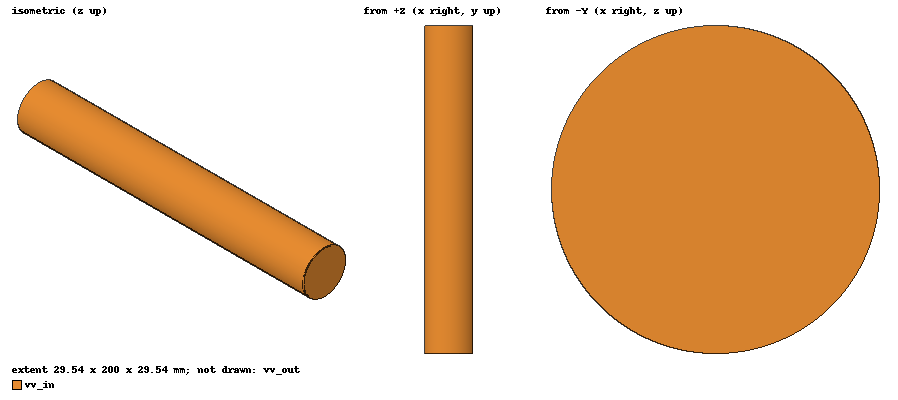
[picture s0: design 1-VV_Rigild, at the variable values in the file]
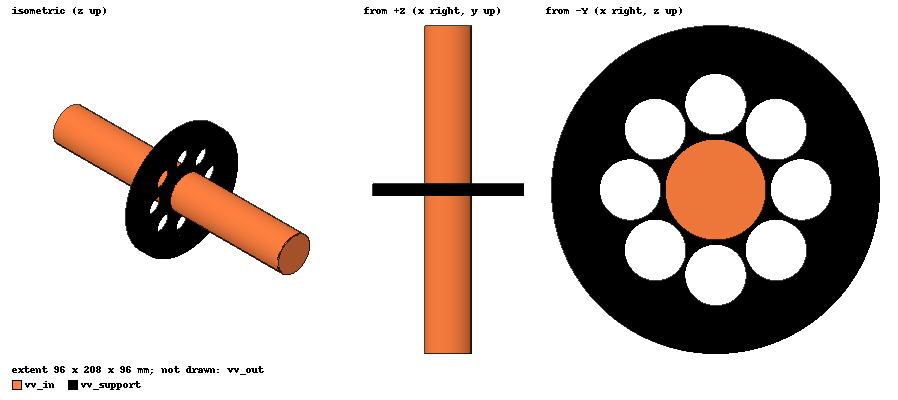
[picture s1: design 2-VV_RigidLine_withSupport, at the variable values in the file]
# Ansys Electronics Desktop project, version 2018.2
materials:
  vacuum: permittivity=1
  copper: permeability=0.999991 conductivity=58000000
  Teflon (tm): permittivity=2.1 dielectric_loss_tangent=0.001

design 1-VV_Rigild (HFSS, DrivenModal, model units mm)
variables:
  vv_in_r = (29.54/2) mm
  H = 200mm
  out_r = (76.8/2) mm
  vvout_r = (96/2) mm
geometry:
  vv_in [copper] = cylinder(axis=Y, base_centre=(0mm, -H/2, 0mm), radius=vv_in_r, height=H)
  vv_out [vacuum] = cylinder(axis=Y, base_centre=(0, -H/2, 0mm), radius=vvout_r, height=H)
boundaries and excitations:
  1: Wave Port Faces=vv_out.face(3 of 3) NumModes=1 Modes{Mode1{CharImp=Zpi}}
  2: Wave Port Faces=vv_out.face(2 of 3) NumModes=1 Modes{Mode1{CharImp=Zpi}}
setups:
  Setup1: HfssDriven Frequency=1GHz MaxDeltaS=0.02 MaximumPasses=20 MinimumPasses=1 MinimumConvergedPasses=1 PercentRefinement=30 BasisOrder=1 PortAccuracy=2
    sweep Sweep: 10MHz to 1.1GHz step 0.001GHz; Type=Interpolating InterpTolerance=0.5 InterpMaxSolns=250 InterpUsePortImped=false PassivityErrorTolerance=0.0001
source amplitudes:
  1:1: 1W 0deg
  2:1: 0W 0deg
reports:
  S Parameter Plot 1: dB(S(1,1)) vs Freq on Setup1 : Sweep; markers m1 at 0.012GHz, m2 at 0.909GHz

design 2-VV_RigidLine_withSupport (HFSS, DrivenModal, model units mm)
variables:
  vv_in_r = (29.54/2) mm
  H = 200mm
  vvout_r = (96/2) mm
  H_support = 8mm
  vv_support_r = 8.635mm
  vv_drill_d = 25mm
  vv_drill_r = 9mm
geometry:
  vv_in [copper] = cylinder(axis=Y, base_centre=(0mm, -H_support/2, 0mm), radius=vv_support_r, height=H_support)
  Cylinder2 = cylinder(axis=Y, base_centre=(0mm, 4mm, 0mm), radius=vv_in_r, height=H/2)
  Cylinder2_1 = Cylinder2.duplicate_mirror(point=(0mm, 0mm, 0mm), normal=(0mm, -1mm, 0mm))
  vv_in.unite(Cylinder2, Cylinder2_1)
  vv_out [vacuum] = cylinder(axis=Y, base_centre=(0mm, -104mm, 0mm), radius=vvout_r, height=H+H_support)
  vv_support [Teflon (tm)] = cylinder(axis=Y, base_centre=(0mm, -H_support/2, 0mm), radius=vvout_r, height=H_support)
  vv_in1 = cylinder(axis=Y, base_centre=(0mm, -H_support/2, 0mm), radius=vv_support_r, height=H_support)
  Cylinder4 = cylinder(axis=Y, base_centre=(0mm, 4mm, 0mm), radius=vv_in_r, height=H/2)
  Cylinder2_2 = Cylinder4.duplicate_mirror(point=(0mm, 0mm, 0mm), normal=(0mm, -1mm, 0mm))
  vv_in1.unite(Cylinder4, Cylinder2_2)
  vv_support.subtract(vv_in1)
  Cylinder5 = cylinder(axis=Y, base_centre=(vv_drill_d, -H_support/2, 0mm), radius=vv_drill_r, height=H_support)
  Cylinder5_1..Cylinder5_7 = Cylinder5.duplicate_around_axis(axis=Y, angle=45deg, total=8)
  vv_support.subtract(Cylinder5, Cylinder5_1..Cylinder5_7)
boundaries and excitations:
  PerfE1: Perfect E Faces=vv_out.face(1 of 3)
  1: Wave Port Faces=vv_out.face(3 of 3) NumModes=1 Modes{Mode1{CharImp=Zpi}}
  2: Wave Port Faces=vv_out.face(2 of 3) NumModes=1 Modes{Mode1{CharImp=Zpi}}
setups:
  Setup1: HfssDriven Frequency=1GHz MaxDeltaS=0.02 MaximumPasses=20 MinimumPasses=1 MinimumConvergedPasses=1 PercentRefinement=30 BasisOrder=1 PortAccuracy=2
    sweep Sweep: 0.01GHz to 1.1GHz step 0.002GHz; Type=Interpolating InterpTolerance=0.5 InterpMaxSolns=250 InterpUsePortImped=false PassivityErrorTolerance=0.0001
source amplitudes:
  1:1: 1W 0deg
  2:1: 0W 0deg
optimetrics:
  ParametricSetup1: Parametric Sim._Setups=[Setup1]
    sweep vv_drill_r: LIN 7mm 9mm 0.5mm
    sweep vv_drill_d: LIN 25mm 45mm 3mm
    sweep vv_support_r: LIN 8mm 9mm 0.1mm
  ParametricSetup2: Parametric Sim._Setups=[Setup1]
    sweep vv_support_r: LIN 8mm 9mm 0.1mm
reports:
  S Parameter Plot 1: dB(S(1,1)) vs Freq on Setup1 : Sweep
  S Parameter Plot 2: dB(S(1,1)) vs Freq on Setup1 : Sweep [vv_drill_d=25mm,28mm,30mm,31mm,34mm,37mm,40mm,43mm,45mm vv_drill_r=9mm]
  S Parameter Plot 3: dB(S(1,1)) vs Freq on Setup1 : Sweep [vv_support_r=all vv_drill_d=25mm vv_drill_r=9mm]

design 3-VV_elbow (HFSS, DrivenModal, model units mm)
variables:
  H = 200mm
  vv_in_r = (29.54/2) mm
  vv_out_r = (96/2) mm
  vv_x_move = 20mm
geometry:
  coordinate_system RelativeCS3 = origin=(-4.1633983mm, -4.1633983mm, 0mm) x=(1mm, 0mm, 0mm) y=(0mm, 1mm, 0mm)
  vv_out [vacuum] = cylinder(axis=X, base_centre=(0mm, 0mm, 0mm), radius=vv_out_r, height=H) in RelativeCS3
  coordinate_system RelativeCS4 = origin=(0mm, 0mm, 0mm) x=(1mm, 0mm, 0mm) y=(0mm, 1mm, 0mm)
  coordinate_system RelativeCS5 = origin=(-4.1633983mm, -52.163398mm, 0mm) x=(1mm, 0mm, 0mm) y=(0mm, 1mm, 0mm) in RelativeCS4
  vv_out.rotate(axis=Z, angle=45deg) in RelativeCS5
  vv_out.split(plane=YZ, keep=PositiveOnly) in RelativeCS5
  vv_out.rotate(axis=Z, angle=-45deg) in RelativeCS5
  vv_out.move(-43.836602mm, 4.1633983mm, 0mm)
  Cylinder1_1 = vv_out.duplicate_around_axis(axis=Z, angle=90deg, total=2)
  Cylinder1_1.rotate(axis=Y, angle=180deg)
  vv_out.unite(Cylinder1_1)
  coordinate_system RelativeCS6 = origin=(-4.1633983mm, -4.1633983mm, 0mm) x=(1mm, 0mm, 0mm) y=(0mm, 1mm, 0mm)
  vv_in [copper] = cylinder(axis=X, base_centre=(0mm, 0mm, 0mm), radius=vv_in_r, height=H) in RelativeCS6
  coordinate_system RelativeCS7 = origin=(0mm, 0mm, 0mm) x=(1mm, 0mm, 0mm) y=(0mm, 1mm, 0mm)
  coordinate_system RelativeCS8 = origin=(-4.1633983mm, -52.163398mm, 0mm) x=(1mm, 0mm, 0mm) y=(0mm, 1mm, 0mm) in RelativeCS7
  vv_in.rotate(axis=Z, angle=45deg) in RelativeCS8
  vv_in.split(plane=YZ, keep=PositiveOnly) in RelativeCS8
  vv_in.rotate(axis=Z, angle=-45deg) in RelativeCS8
  vv_in.move(-43.836602mm, 4.1633983mm, 0mm)
  Cylinder1_2 = vv_in.duplicate_around_axis(axis=Z, angle=90deg, total=2)
  Cylinder1_2.rotate(axis=Y, angle=180deg)
  vv_in.unite(Cylinder1_2)
  coordinate_system RelativeCS9 = origin=(-14.77mm, -14.77mm, 0mm) x=(1mm, 0mm, 0mm) y=(0mm, 1mm, 0mm)
  Rectangle1 = rectangle(corner=(vv_x_move, -50mm, -50mm), y_size=100mm, z_size=100mm) in RelativeCS9
  Rectangle1.rotate(axis=Z, angle=45deg) in RelativeCS9
  vv_in.split(plane=Rectangle1_1.face, keep=NegativeOnly) in RelativeCS9
  Rectangle1_1 = Rectangle1.copy()
  Rectangle1_1.delete()
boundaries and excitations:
  PerfE2: Perfect E Faces=vv_out.face(1 of 3, 2 of 3)
  1: Wave Port Faces=vv_out.face(3 of 3) NumModes=1 Modes{Mode1{CharImp=Zpi}}
  2: Wave Port Faces=vv_out.face(3 of 3) NumModes=1 Modes{Mode1{CharImp=Zpi}}
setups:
  Setup1: HfssDriven Frequency=0.8GHz MaxDeltaS=0.02 MaximumPasses=20 MinimumPasses=1 MinimumConvergedPasses=1 PercentRefinement=30 BasisOrder=1 PortAccuracy=2
    sweep Sweep: 0.01GHz to 0.9GHz step 0.002GHz; Type=Fast SaveFields
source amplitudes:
  1:1: 1W 0deg
  2:1: 0W 0deg
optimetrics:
  ParametricSetup1: Parametric Sim._Setups=[Setup1]
    sweep vv_x_move: LIN 26mm 28mm 0.2mm
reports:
  S Parameter Plot 1: dB(S(1,1)) vs Freq on Setup1 : Sweep [vv_x_move=all]; markers MX1 at x=30000000, MX2 at x=8.2e+08, MY1 at y=-35

design 4-VV_elbow_withSupport (HFSS, DrivenModal, model units mm)
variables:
  vv_in_r = (29.54/2) mm
  H_support = 8mm
  H = 200mm
  vv_support_r = 8.635mm
  vvout_r = (96/2) mm
  vv_drill_r = 9mm
  vv_drill_d = 25mm
  move_d = 27mm
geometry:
  vv_in [copper] = cylinder(axis=Y, base_centre=(0mm, -H_support/2, 0mm), radius=vv_support_r, height=H_support)
  Cylinder2 = cylinder(axis=Y, base_centre=(0mm, 4mm, 0mm), radius=vv_in_r, height=H/2)
  Cylinder2_1 = Cylinder2.duplicate_mirror(point=(0mm, 0mm, 0mm), normal=(0mm, -1mm, 0mm))
  vv_in.unite(Cylinder2, Cylinder2_1)
  vv_out [vacuum] = cylinder(axis=Y, base_centre=(0mm, -104mm, 0mm), radius=vvout_r, height=H+H_support)
  vv_support = cylinder(axis=Y, base_centre=(0mm, -H_support/2, 0mm), radius=vvout_r, height=H_support)
  vv_in1 = cylinder(axis=Y, base_centre=(0mm, -H_support/2, 0mm), radius=vv_support_r, height=H_support)
  Cylinder4 = cylinder(axis=Y, base_centre=(0mm, 4mm, 0mm), radius=vv_in_r, height=H/2)
  Cylinder2_2 = Cylinder4.duplicate_mirror(point=(0mm, 0mm, 0mm), normal=(0mm, -1mm, 0mm))
  vv_in1.unite(Cylinder4, Cylinder2_2)
  vv_support.subtract(vv_in1)
  Cylinder5 = cylinder(axis=Y, base_centre=(vv_drill_d, -H_support/2, 0mm), radius=vv_drill_r, height=H_support)
  Cylinder5_1..Cylinder5_7 = Cylinder5.duplicate_around_axis(axis=Y, angle=45deg, total=8)
  vv_support.subtract(Cylinder5, Cylinder5_1..Cylinder5_7)
  [vv_support, vv_in, vv_out].rotate(axis=Z, angle=90deg)
  [vv_out, vv_support, vv_in].move(104mm, 0mm, 0mm)
  coordinate_system RelativeCS1 = origin=(0mm, -48mm, 0mm) x=(1mm, 0mm, 0mm) y=(0mm, 1mm, 0mm)
  [vv_out, vv_in, vv_support].rotate(axis=Z, angle=45deg) in RelativeCS1
  [vv_out, vv_in, vv_support].split(plane=YZ, keep=PositiveOnly) in RelativeCS1
  [vv_in, vv_support, vv_out].rotate(axis=Z, angle=-45deg) in RelativeCS1
  vv_in_1 = vv_in.duplicate_around_axis(axis=Z, angle=90deg, total=2)
  vv_out_1 = vv_out.duplicate_around_axis(axis=Z, angle=90deg, total=2)
  vv_support_1 [Teflon (tm)] = vv_support.duplicate_around_axis(axis=Z, angle=90deg, total=2)
  [vv_in_1, vv_out_1, vv_support_1].rotate(axis=Y, angle=180deg)
  [vv_in, vv_out, vv_support].move(-48mm, 0mm, 0mm)
  vv_support.delete()
  [vv_support_1, vv_in_1, vv_out_1].move(0mm, -48mm, 0mm)
  vv_in.unite(vv_in_1)
  vv_out.unite(vv_out_1)
  coordinate_system RelativeCS2 = origin=(-14.77mm, 33.23mm, 0mm) x=(1mm, 0mm, 0mm) y=(0mm, 1mm, 0mm) in RelativeCS1
  Rectangle1 = rectangle(corner=(0mm, -35mm, 35mm), y_size=85mm, z_size=-85mm) in RelativeCS2
  Rectangle1.rotate(axis=Z, angle=45deg) in RelativeCS2
  Rectangle1.move(move_d, 0mm, 0mm) in RelativeCS2
  vv_in.split(plane=Rectangle1_1.face, keep=PositiveOnly) in RelativeCS2
  Rectangle1_1 = Rectangle1.copy()
  [Rectangle1, Rectangle1_1].delete()
  Rectangle2 = rectangle(corner=(0mm, -70mm, 50mm), y_size=180mm, z_size=-140mm) in RelativeCS2
  Rectangle2.rotate(axis=Z, angle=45deg) in RelativeCS2
  Rectangle2.rotate(axis=Z, angle=90deg) in RelativeCS2
  vv_out.split(plane=Rectangle2_1.face, keep=PositiveOnly) in RelativeCS2
  Rectangle2_1 = Rectangle2.copy()
  Rectangle2_1.delete()
  vv_in.split(plane=Rectangle2_2.face, keep=PositiveOnly) in RelativeCS2
  Rectangle2_2 = Rectangle2.copy()
  [Rectangle2, Rectangle2_2].delete()
  Rectangle3 = rectangle(corner=(0mm, -80mm, -100mm), y_size=220mm, z_size=190mm) in RelativeCS2
  Rectangle3.rotate(axis=Z, angle=-45deg) in RelativeCS2
  Rectangle3.move(0mm, 4mm, 0mm) in RelativeCS2
  vv_in.split(plane=Rectangle3_1.face, keep=PositiveOnly) in RelativeCS2
  Rectangle3_1 = Rectangle3.copy()
  Rectangle3_1.delete()
  vv_out.split(plane=Rectangle3_2.face, keep=PositiveOnly) in RelativeCS2
  Rectangle3_2 = Rectangle3.copy()
  [Rectangle3, Rectangle3_2].delete()
  [vv_in, vv_support_1, vv_out].move(0mm, -4mm, 0mm) in RelativeCS2
  vv_in_2 = vv_in.duplicate_around_axis(axis=Z, angle=180deg, total=2) in RelativeCS2
  vv_out_2 = vv_out.duplicate_around_axis(axis=Z, angle=180deg, total=2) in RelativeCS2
  vv_support_1_1 [Teflon (tm)] = vv_support_1.duplicate_around_axis(axis=Z, angle=180deg, total=2) in RelativeCS2
  [vv_in_2, vv_support_1_1, vv_out_2].rotate(axis=Z, angle=90deg) in RelativeCS2
  [vv_in_2, vv_support_1_1, vv_out_2].rotate(axis=X, angle=180deg) in RelativeCS2
  vv_in.unite(vv_in_2)
  vv_out.unite(vv_out_2)
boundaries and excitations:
  PerfE2: Perfect E Faces=vv_out.face(2 of 3)
  PerfE3: Perfect E Faces=vv_out.face(2 of 3)
  1: Wave Port Faces=vv_out.face(3 of 3) NumModes=1 Modes{Mode1{CharImp=Zpi}}
  2: Wave Port Faces=vv_out.face(3 of 3) NumModes=1 Modes{Mode1{CharImp=Zpi}}
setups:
  Setup1: HfssDriven Frequency=0.8GHz MaxDeltaS=0.02 MaximumPasses=20 MinimumPasses=1 MinimumConvergedPasses=1 PercentRefinement=30 BasisOrder=1 PortAccuracy=2
    sweep Sweep: 0.01GHz to 1.1GHz, 451 points; Type=Fast
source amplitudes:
  1:1: 1W 0deg
  2:1: 0W 0deg
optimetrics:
  ParametricSetup1: Parametric Sim._Setups=[Setup1]
    sweep move_d: LIN 26.5mm 27.5mm 0.1mm
  ParametricSetup2: Parametric Sim._Setups=[Setup1]
    sweep vv_support_r: LIN 4mm 7mm 0.5mm
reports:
  S Parameter Plot 1: dB(S(1,1)) vs Freq on Setup1 : Sweep [vv_support_r=8.635mm move_d=all]; markers MY1 at y=-35

design 4-elbow-bak (HFSS, DrivenModal, model units mm)
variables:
  H_support = 8mm
  vv_support_r = 8.635mm
  move_d = 27mm
  vv_in_r = (29.54/2) mm
  H = 200mm
  vvout_r = (96/2) mm
  vv_drill_d = 25mm
  vv_drill_r = 9mm
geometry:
  vv_in [copper] = cylinder(axis=Y, base_centre=(0mm, -H_support/2, 0mm), radius=vv_support_r, height=H_support)
  Cylinder2 = cylinder(axis=Y, base_centre=(0mm, 4mm, 0mm), radius=vv_in_r, height=H/2)
  Cylinder2_1 = Cylinder2.duplicate_mirror(point=(0mm, 0mm, 0mm), normal=(0mm, -1mm, 0mm))
  vv_in.unite(Cylinder2, Cylinder2_1)
  vv_in.rotate(axis=Z, angle=90deg)
  vv_in.move(104mm, 0mm, 0mm)
  coordinate_system RelativeCS1 = origin=(0mm, -48mm, 0mm) x=(1mm, 0mm, 0mm) y=(0mm, 1mm, 0mm)
  vv_in.rotate(axis=Z, angle=45deg) in RelativeCS1
  vv_in.split(plane=YZ, keep=PositiveOnly) in RelativeCS1
  vv_in.rotate(axis=Z, angle=-45deg) in RelativeCS1
  vv_in_1 = vv_in.duplicate_around_axis(axis=Z, angle=90deg, total=2)
  vv_in.move(-48mm, 0mm, 0mm)
  vv_in_1.rotate(axis=Y, angle=180deg)
  vv_in_1.move(0mm, -48mm, 0mm)
  vv_in.unite(vv_in_1)
  coordinate_system RelativeCS2 = origin=(-14.77mm, 33.23mm, 0mm) x=(1mm, 0mm, 0mm) y=(0mm, 1mm, 0mm) in RelativeCS1
  vv_in.split(plane=Rectangle1_1.face, keep=PositiveOnly) in RelativeCS2
  vv_in.split(plane=Rectangle2_2.face, keep=PositiveOnly) in RelativeCS2
  vv_in.split(plane=Rectangle3_1.face, keep=PositiveOnly) in RelativeCS2
  vv_in.move(0mm, -4mm, 0mm) in RelativeCS2
  vv_in_2 = vv_in.duplicate_around_axis(axis=Z, angle=180deg, total=2) in RelativeCS2
  vv_in_2.rotate(axis=Z, angle=90deg) in RelativeCS2
  vv_in_2.rotate(axis=X, angle=180deg) in RelativeCS2
  vv_in.unite(vv_in_2)
  vv_support = cylinder(axis=Y, base_centre=(0mm, -H_support/2, 0mm), radius=vvout_r, height=H_support)
  vv_in1 = cylinder(axis=Y, base_centre=(0mm, -H_support/2, 0mm), radius=vv_support_r, height=H_support)
  Cylinder4 = cylinder(axis=Y, base_centre=(0mm, 4mm, 0mm), radius=vv_in_r, height=H/2)
  Cylinder2_2 = Cylinder4.duplicate_mirror(point=(0mm, 0mm, 0mm), normal=(0mm, -1mm, 0mm))
  vv_in1.unite(Cylinder4, Cylinder2_2)
  vv_support.subtract(vv_in1)
  Cylinder5 = cylinder(axis=Y, base_centre=(vv_drill_d, -H_support/2, 0mm), radius=vv_drill_r, height=H_support)
  Cylinder5_1..Cylinder5_7 = Cylinder5.duplicate_around_axis(axis=Y, angle=45deg, total=8)
  vv_support.subtract(Cylinder5, Cylinder5_1..Cylinder5_7)
  vv_support.rotate(axis=Z, angle=90deg)
  vv_support.move(104mm, 0mm, 0mm)
  vv_support.rotate(axis=Z, angle=45deg) in RelativeCS1
  vv_support.split(plane=YZ, keep=PositiveOnly) in RelativeCS1
  vv_support.rotate(axis=Z, angle=-45deg) in RelativeCS1
  vv_support_1 [Teflon (tm)] = vv_support.duplicate_around_axis(axis=Z, angle=90deg, total=2)
  vv_support.delete()
  vv_support_1.rotate(axis=Y, angle=180deg)
  vv_support_1.move(0mm, -48mm, 0mm)
  vv_support_1.move(0mm, -4mm, 0mm) in RelativeCS2
  vv_support_1_1 [Teflon (tm)] = vv_support_1.duplicate_around_axis(axis=Z, angle=180deg, total=2) in RelativeCS2
  vv_support_1_1.rotate(axis=Z, angle=90deg) in RelativeCS2
  vv_support_1_1.rotate(axis=X, angle=180deg) in RelativeCS2
  Rectangle1 = rectangle(corner=(0mm, -35mm, 35mm), y_size=85mm, z_size=-85mm) in RelativeCS2
  Rectangle1.rotate(axis=Z, angle=45deg) in RelativeCS2
  Rectangle1.move(move_d, 0mm, 0mm) in RelativeCS2
  Rectangle1_1 = Rectangle1.copy()
  [Rectangle1, Rectangle1_1].delete()
  Rectangle2 = rectangle(corner=(0mm, -70mm, 50mm), y_size=180mm, z_size=-140mm) in RelativeCS2
  Rectangle2.rotate(axis=Z, angle=45deg) in RelativeCS2
  Rectangle2.rotate(axis=Z, angle=90deg) in RelativeCS2
  Rectangle2_2 = Rectangle2.copy()
  [Rectangle2, Rectangle2_2].delete()
  Rectangle3 = rectangle(corner=(0mm, -80mm, -100mm), y_size=220mm, z_size=190mm) in RelativeCS2
  Rectangle3.rotate(axis=Z, angle=-45deg) in RelativeCS2
  Rectangle3.move(0mm, 4mm, 0mm) in RelativeCS2
  Rectangle3_1 = Rectangle3.copy()
  [Rectangle3, Rectangle3_1].delete()
  coordinate_system RelativeCS3 = origin=(48mm, 48mm, 0mm) x=(1mm, 0mm, 0mm) y=(0mm, 1mm, 0mm)
  coordinate_system RelativeCS4 = origin=(0mm, -48mm, 0mm) x=(1mm, 0mm, 0mm) y=(0mm, 1mm, 0mm) in RelativeCS3
  coordinate_system RelativeCS5 = origin=(-14.77mm, 33.23mm, 0mm) x=(1mm, 0mm, 0mm) y=(0mm, 1mm, 0mm) in RelativeCS4
  vv_out1 [vacuum] = cylinder(axis=Y, base_centre=(0mm, -104mm, 0mm), radius=vvout_r, height=H+H_support)
  vv_out1.rotate(axis=Z, angle=90deg)
  vv_out1.move(104mm, 0mm, 0mm)
  coordinate_system RelativeCS6 = origin=(0mm, -48mm, 0mm) x=(1mm, 0mm, 0mm) y=(0mm, 1mm, 0mm)
  vv_out1.rotate(axis=Z, angle=45deg) in RelativeCS6
  vv_out1.split(plane=YZ, keep=PositiveOnly) in RelativeCS6
  vv_out1.rotate(axis=Z, angle=-45deg) in RelativeCS6
  vv_out_5 = vv_out1.duplicate_around_axis(axis=Z, angle=90deg, total=2)
  vv_out1.move(-48mm, 0mm, 0mm)
  vv_out_5.rotate(axis=Y, angle=180deg)
  vv_out_5.move(0mm, -48mm, 0mm)
  vv_out1.unite(vv_out_5)
  coordinate_system RelativeCS7 = origin=(-14.77mm, 33.23mm, 0mm) x=(1mm, 0mm, 0mm) y=(0mm, 1mm, 0mm) in RelativeCS6
  vv_out1.split(plane=Rectangle2_3.face, keep=PositiveOnly) in RelativeCS7
  vv_out1.split(plane=Rectangle3_3.face, keep=PositiveOnly) in RelativeCS7
  vv_out1.move(0mm, -4mm, 0mm) in RelativeCS7
  vv_out_6 = vv_out1.duplicate_around_axis(axis=Z, angle=180deg, total=2) in RelativeCS7
  vv_out_6.rotate(axis=Z, angle=90deg) in RelativeCS7
  vv_out_6.rotate(axis=X, angle=180deg) in RelativeCS7
  vv_out1.unite(vv_out_6)
  Rectangle4 = rectangle(corner=(0mm, -70mm, 50mm), y_size=180mm, z_size=-140mm) in RelativeCS7
  Rectangle4.rotate(axis=Z, angle=45deg) in RelativeCS7
  Rectangle4.rotate(axis=Z, angle=90deg) in RelativeCS7
  Rectangle2_3 = Rectangle4.copy()
  [Rectangle4, Rectangle2_3].delete()
  Rectangle5 = rectangle(corner=(0mm, -80mm, -100mm), y_size=220mm, z_size=190mm) in RelativeCS7
  Rectangle5.rotate(axis=Z, angle=-45deg) in RelativeCS7
  Rectangle5.move(0mm, 4mm, 0mm) in RelativeCS7
  Rectangle3_3 = Rectangle5.copy()
  [Rectangle5, Rectangle3_3].delete()
  vv_out1.split(plane=vv_support_1_1_2.edge(20 of 20), keep=PositiveOnly)
  vv_support_1_1_2 = vv_support_1_1.copy()
  vv_support_1_1_2.delete()
  vv_out1_1 = vv_out1.duplicate_around_axis(axis=Z, angle=90deg, total=2)
  Circle1 = circle(normal=X, centre=(48mm, 0mm, 0mm), radius=48mm)
  Circle1.sweep_around_axis(axis=Z, angle=-90deg) in RelativeCS3
  vv_out1.unite(vv_out1_1, Circle1)
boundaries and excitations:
  PerfE1: Perfect E Faces=vv_out1.face(2 of 3, #1740, 2 of 3)
  1: Wave Port Faces=vv_out1.face(3 of 3) NumModes=1 Modes{Mode1{CharImp=Zpi}}
  2: Wave Port Faces=vv_out1.face(3 of 3) NumModes=1 Modes{Mode1{CharImp=Zpi}}
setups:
  Setup1: HfssDriven Frequency=1GHz MaxDeltaS=0.02 MaximumPasses=20 MinimumPasses=1 MinimumConvergedPasses=1 PercentRefinement=30 BasisOrder=1 PortAccuracy=2
    sweep Sweep: 0.01GHz to 1.1GHz, 500 points; Type=Fast
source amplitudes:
  1:1: 1W 0deg
  2:1: 0W 0deg
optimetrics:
  ParametricSetup1: Parametric Sim._Setups=[Setup1]
    sweep move_d: LIN 25mm 28mm 0.5mm
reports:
  S Parameter Plot 1: dB(S(1,1)) vs Freq on Setup1 : Sweep [move_d=all]; markers m1 at 0.15198397GHz, MY1 at y=-35

design 5-VV_ULink (HFSS, DrivenModal, model units mm)
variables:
  vv_out_r = (96/2) mm
  H = 200mm
  vv_x_move = 20mm
  vv_in_r = (29.54/2) mm
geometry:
  coordinate_system RelativeCS3 = origin=(-4.1633983mm, -4.1633983mm, 0mm) x=(1mm, 0mm, 0mm) y=(0mm, 1mm, 0mm)
  vv_out [vacuum] = cylinder(axis=X, base_centre=(0mm, 0mm, 0mm), radius=vv_out_r, height=H) in RelativeCS3
  coordinate_system RelativeCS4 = origin=(0mm, 0mm, 0mm) x=(1mm, 0mm, 0mm) y=(0mm, 1mm, 0mm)
  coordinate_system RelativeCS5 = origin=(-4.1633983mm, -52.163398mm, 0mm) x=(1mm, 0mm, 0mm) y=(0mm, 1mm, 0mm) in RelativeCS4
  vv_out.rotate(axis=Z, angle=45deg) in RelativeCS5
  vv_out.split(plane=YZ, keep=PositiveOnly) in RelativeCS5
  vv_out.rotate(axis=Z, angle=-45deg) in RelativeCS5
  vv_out.move(-43.836602mm, 4.1633983mm, 0mm)
  Cylinder1_1 = vv_out.duplicate_around_axis(axis=Z, angle=90deg, total=2)
  Cylinder1_1.rotate(axis=Y, angle=180deg)
  vv_out.unite(Cylinder1_1)
  coordinate_system RelativeCS6 = origin=(-4.1633983mm, -4.1633983mm, 0mm) x=(1mm, 0mm, 0mm) y=(0mm, 1mm, 0mm)
  vv_in [copper] = cylinder(axis=X, base_centre=(0mm, 0mm, 0mm), radius=vv_in_r, height=H) in RelativeCS6
  coordinate_system RelativeCS7 = origin=(0mm, 0mm, 0mm) x=(1mm, 0mm, 0mm) y=(0mm, 1mm, 0mm)
  coordinate_system RelativeCS8 = origin=(-4.1633983mm, -52.163398mm, 0mm) x=(1mm, 0mm, 0mm) y=(0mm, 1mm, 0mm) in RelativeCS7
  vv_in.rotate(axis=Z, angle=45deg) in RelativeCS8
  vv_in.split(plane=YZ, keep=PositiveOnly) in RelativeCS8
  vv_in.rotate(axis=Z, angle=-45deg) in RelativeCS8
  vv_in.move(-43.836602mm, 4.1633983mm, 0mm)
  Cylinder1_2 = vv_in.duplicate_around_axis(axis=Z, angle=90deg, total=2)
  Cylinder1_2.rotate(axis=Y, angle=180deg)
  vv_in.unite(Cylinder1_2)
  coordinate_system RelativeCS9 = origin=(-14.77mm, -14.77mm, 0mm) x=(1mm, 0mm, 0mm) y=(0mm, 1mm, 0mm)
  vv_in.split(plane=Rectangle1_1.face, keep=NegativeOnly) in RelativeCS9
  Rectangle1 = rectangle(corner=(vv_x_move, -50mm, -50mm), y_size=100mm, z_size=100mm) in RelativeCS9
  Rectangle1.rotate(axis=Z, angle=45deg) in RelativeCS9
  Rectangle1_1 = Rectangle1.copy()
  [Rectangle1, Rectangle1_1].delete()
  coordinate_system RelativeCS10 = origin=(0mm, 152mm, 0mm) x=(1mm, 0mm, 0mm) y=(0mm, 1mm, 0mm)
  vv_out_1 = vv_out.duplicate_mirror(point=(0mm, 0mm, 0mm), normal=(0mm, -1mm, 0mm)) in RelativeCS10
  vv_in_1 = vv_in.duplicate_mirror(point=(0mm, 0mm, 0mm), normal=(0mm, -1mm, 0mm)) in RelativeCS10
  vv_in.unite(vv_in_1)
  vv_out.unite(vv_out_1)
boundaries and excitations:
  PerfE1: Perfect E Faces=vv_out.face(1 of 3, 2 of 3, 3 of 4)
  1: Wave Port Faces=vv_out.face(3 of 3) NumModes=1 Modes{Mode1{CharImp=Zpi}}
  2: Wave Port Faces=vv_out.face(4 of 4) NumModes=1 Modes{Mode1{CharImp=Zpi}}
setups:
  Setup1: HfssDriven Frequency=1GHz MaxDeltaS=0.02 MaximumPasses=20 MinimumPasses=1 MinimumConvergedPasses=1 PercentRefinement=30 BasisOrder=1 PortAccuracy=2
    sweep Sweep: 0.01GHz to 1.1GHz step 0.002GHz; Type=Interpolating InterpTolerance=0.5 InterpMaxSolns=250 InterpUsePortImped=false PassivityErrorTolerance=0.0001
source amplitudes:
  1:1: 1W 0deg
  2:1: 0W 0deg
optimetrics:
  ParametricSetup1: Parametric Sim._Setups=[Setup1]
    sweep vv_x_move: LIN 20mm 30mm 1mm
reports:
  S Parameter Plot 1: dB(S(1,1)) vs Freq on Setup1 : Sweep [vv_x_move=all]; markers MY1 at y=-35

design 6-VV_ULink_withsupport (HFSS, DrivenModal, model units mm)
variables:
  vv_in_r = (29.54/2) mm
  H_support = 8mm
  H = 200mm
  move_d = 27mm
  vv_support_r = 8.635mm
  vvout_r = (96/2) mm
  vv_drill_r = 9mm
  vv_drill_d = 25mm
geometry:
  vv_in = cylinder(axis=Y, base_centre=(0mm, -H_support/2, 0mm), radius=vv_support_r, height=H_support)
  Cylinder2 = cylinder(axis=Y, base_centre=(0mm, 4mm, 0mm), radius=vv_in_r, height=H/2)
  Cylinder2_1 = Cylinder2.duplicate_mirror(point=(0mm, 0mm, 0mm), normal=(0mm, -1mm, 0mm))
  vv_in.unite(Cylinder2, Cylinder2_1)
  vv_in.rotate(axis=Z, angle=90deg)
  vv_in.move(104mm, 0mm, 0mm)
  coordinate_system RelativeCS1 = origin=(0mm, -48mm, 0mm) x=(1mm, 0mm, 0mm) y=(0mm, 1mm, 0mm)
  vv_in.rotate(axis=Z, angle=45deg) in RelativeCS1
  vv_in.split(plane=YZ, keep=PositiveOnly) in RelativeCS1
  vv_in.rotate(axis=Z, angle=-45deg) in RelativeCS1
  vv_in_1 = vv_in.duplicate_around_axis(axis=Z, angle=90deg, total=2)
  vv_in.move(-48mm, 0mm, 0mm)
  vv_in_1.rotate(axis=Y, angle=180deg)
  vv_in_1.move(0mm, -48mm, 0mm)
  vv_in.unite(vv_in_1)
  coordinate_system RelativeCS2 = origin=(-14.77mm, 33.23mm, 0mm) x=(1mm, 0mm, 0mm) y=(0mm, 1mm, 0mm) in RelativeCS1
  vv_in.split(plane=Rectangle1_1.face, keep=PositiveOnly) in RelativeCS2
  vv_in.split(plane=Rectangle2_2.face, keep=PositiveOnly) in RelativeCS2
  vv_in.split(plane=Rectangle3_1.face, keep=PositiveOnly) in RelativeCS2
  vv_in.move(0mm, -4mm, 0mm) in RelativeCS2
  vv_in_2 = vv_in.duplicate_around_axis(axis=Z, angle=180deg, total=2) in RelativeCS2
  vv_in_2.rotate(axis=Z, angle=90deg) in RelativeCS2
  vv_in_2.rotate(axis=X, angle=180deg) in RelativeCS2
  vv_in.unite(vv_in_2)
  vv_out [vacuum] = cylinder(axis=Y, base_centre=(0mm, -104mm, 0mm), radius=vvout_r, height=H+H_support)
  vv_out.rotate(axis=Z, angle=90deg)
  vv_out.move(104mm, 0mm, 0mm)
  vv_out.rotate(axis=Z, angle=45deg) in RelativeCS1
  vv_out.split(plane=YZ, keep=PositiveOnly) in RelativeCS1
  vv_out.rotate(axis=Z, angle=-45deg) in RelativeCS1
  vv_out_1 = vv_out.duplicate_around_axis(axis=Z, angle=90deg, total=2)
  vv_out.move(-48mm, 0mm, 0mm)
  vv_out_1.rotate(axis=Y, angle=180deg)
  vv_out_1.move(0mm, -48mm, 0mm)
  vv_out.unite(vv_out_1)
  vv_out.split(plane=Rectangle2_1.face, keep=PositiveOnly) in RelativeCS2
  vv_out.split(plane=Rectangle3_2.face, keep=PositiveOnly) in RelativeCS2
  vv_out.move(0mm, -4mm, 0mm) in RelativeCS2
  vv_out_2 = vv_out.duplicate_around_axis(axis=Z, angle=180deg, total=2) in RelativeCS2
  vv_out_2.rotate(axis=Z, angle=90deg) in RelativeCS2
  vv_out_2.rotate(axis=X, angle=180deg) in RelativeCS2
  vv_out.unite(vv_out_2)
  vv_support = cylinder(axis=Y, base_centre=(0mm, -H_support/2, 0mm), radius=vvout_r, height=H_support)
  vv_in1 = cylinder(axis=Y, base_centre=(0mm, -H_support/2, 0mm), radius=vv_support_r, height=H_support)
  Cylinder4 = cylinder(axis=Y, base_centre=(0mm, 4mm, 0mm), radius=vv_in_r, height=H/2)
  Cylinder2_2 = Cylinder4.duplicate_mirror(point=(0mm, 0mm, 0mm), normal=(0mm, -1mm, 0mm))
  vv_in1.unite(Cylinder4, Cylinder2_2)
  vv_support.subtract(vv_in1)
  Cylinder5 = cylinder(axis=Y, base_centre=(vv_drill_d, -H_support/2, 0mm), radius=vv_drill_r, height=H_support)
  Cylinder5_1..Cylinder5_7 = Cylinder5.duplicate_around_axis(axis=Y, angle=45deg, total=8)
  vv_support.subtract(Cylinder5, Cylinder5_1..Cylinder5_7)
  vv_support.rotate(axis=Z, angle=90deg)
  vv_support.move(104mm, 0mm, 0mm)
  vv_support.rotate(axis=Z, angle=45deg) in RelativeCS1
  vv_support.split(plane=YZ, keep=PositiveOnly) in RelativeCS1
  vv_support.rotate(axis=Z, angle=-45deg) in RelativeCS1
  vv_support_1 [Teflon (tm)] = vv_support.duplicate_around_axis(axis=Z, angle=90deg, total=2)
  vv_support.delete()
  vv_support_1.rotate(axis=Y, angle=180deg)
  vv_support_1.move(0mm, -48mm, 0mm)
  vv_support_1.move(0mm, -4mm, 0mm) in RelativeCS2
  vv_support_1_1 [Teflon (tm)] = vv_support_1.duplicate_around_axis(axis=Z, angle=180deg, total=2) in RelativeCS2
  vv_support_1_1.rotate(axis=Z, angle=90deg) in RelativeCS2
  vv_support_1_1.rotate(axis=X, angle=180deg) in RelativeCS2
  Rectangle1 = rectangle(corner=(0mm, -35mm, 35mm), y_size=85mm, z_size=-85mm) in RelativeCS2
  Rectangle1.rotate(axis=Z, angle=45deg) in RelativeCS2
  Rectangle1.move(move_d, 0mm, 0mm) in RelativeCS2
  Rectangle1_1 = Rectangle1.copy()
  [Rectangle1, Rectangle1_1].delete()
  Rectangle2 = rectangle(corner=(0mm, -70mm, 50mm), y_size=180mm, z_size=-140mm) in RelativeCS2
  Rectangle2.rotate(axis=Z, angle=45deg) in RelativeCS2
  Rectangle2.rotate(axis=Z, angle=90deg) in RelativeCS2
  Rectangle2_1 = Rectangle2.copy()
  Rectangle2_2 = Rectangle2.copy()
  [Rectangle2, Rectangle2_1, Rectangle2_2].delete()
  Rectangle3 = rectangle(corner=(0mm, -80mm, -100mm), y_size=220mm, z_size=190mm) in RelativeCS2
  Rectangle3.rotate(axis=Z, angle=-45deg) in RelativeCS2
  Rectangle3.move(0mm, 4mm, 0mm) in RelativeCS2
  Rectangle3_1 = Rectangle3.copy()
  Rectangle3_2 = Rectangle3.copy()
  [Rectangle3, Rectangle3_1, Rectangle3_2].delete()
  coordinate_system RelativeCS3 = origin=(0mm, 156mm, 0mm) x=(1mm, 0mm, 0mm) y=(0mm, 1mm, 0mm)
  vv_in_3 [copper] = vv_in.duplicate_mirror(point=(0mm, 0mm, 0mm), normal=(0mm, -1mm, 0mm)) in RelativeCS3
  vv_out_3 = vv_out.duplicate_mirror(point=(0mm, 0mm, 0mm), normal=(0mm, -1mm, 0mm)) in RelativeCS3
  vv_support_1_2 [Teflon (tm)] = vv_support_1.duplicate_mirror(point=(0mm, 0mm, 0mm), normal=(0mm, -1mm, 0mm)) in RelativeCS3
  vv_support_1_1_1 [Teflon (tm)] = vv_support_1_1.duplicate_mirror(point=(0mm, 0mm, 0mm), normal=(0mm, -1mm, 0mm)) in RelativeCS3
  vv_in_3.unite(vv_in)
  vv_out.unite(vv_out_3)
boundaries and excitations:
  PerfE1: Perfect E Faces=vv_out.face(2 of 3, 2 of 3, 1 of 4)
  1: Wave Port Faces=vv_out.face(3 of 3) NumModes=1 Modes{Mode1{CharImp=Zpi}}
  2: Wave Port Faces=vv_out.face(2 of 4) NumModes=1 Modes{Mode1{CharImp=Zpi}}
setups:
  Setup1: HfssDriven Frequency=1GHz MaxDeltaS=0.02 MaximumPasses=20 MinimumPasses=1 MinimumConvergedPasses=1 PercentRefinement=30 BasisOrder=1 PortAccuracy=2
    sweep Sweep: 0.01GHz to 1.1GHz, 1000 points; Type=Interpolating InterpTolerance=0.5 InterpMaxSolns=250 InterpUsePortImped=false PassivityErrorTolerance=0.0001
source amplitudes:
  1:1: 1W 0deg
  2:1: 0W 0deg
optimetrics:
  ParametricSetup1: Parametric Sim._Setups=[Setup1]
    sweep move_d: LIN 26mm 28mm 0.4mm
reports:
  S Parameter Plot 1: dB(S(1,1)) vs Freq on Setup1 : Sweep [move_d=all]; markers m1 at 0.24785786GHz, m2 at 0.73121121GHz, MX1 at x=8.2966887e+08, MY1 at y=-35
